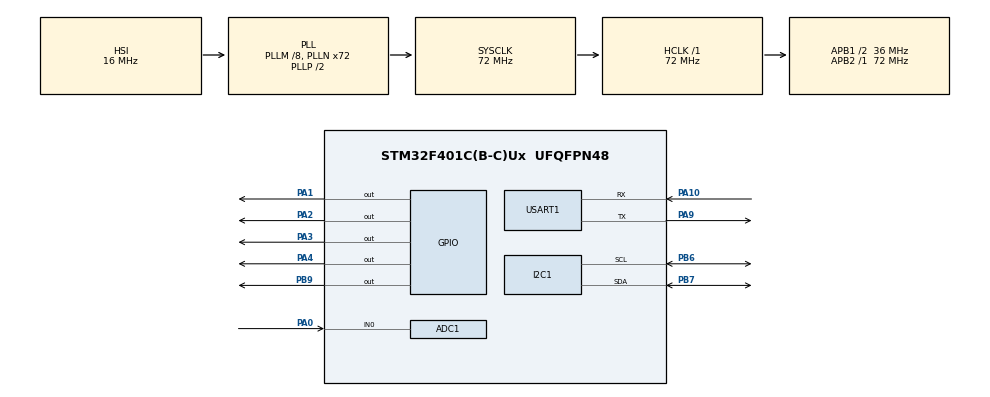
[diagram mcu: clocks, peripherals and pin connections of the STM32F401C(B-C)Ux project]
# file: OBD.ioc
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ADC1.Channel-0\#ChannelRegularConversion=ADC_CHANNEL_0
ADC1.ClockPrescaler=ADC_CLOCK_SYNC_PCLK_DIV6
ADC1.ContinuousConvMode=ENABLE
ADC1.NbrOfConversionFlag=1
ADC1.Rank-0\#ChannelRegularConversion=1
ADC1.SamplingTime-0\#ChannelRegularConversion=ADC_SAMPLETIME_3CYCLES
ADC1.master=1
Mcu.Family=STM32F4
Mcu.Name=STM32F401C(B-C)Ux
Mcu.Package=UFQFPN48
NVIC.ADC_IRQn=true\:0\:0\:false\:false\:true\:true\:true\:true
NVIC.PriorityGroup=NVIC_PRIORITYGROUP_4
NVIC.TIM2_IRQn=true\:0\:0\:false\:false\:true\:true\:true\:true
PA0-WKUP.Signal=ADCx_IN0
PA1.GPIO_PuPd=GPIO_NOPULL
PA1.Signal=GPIO_Output
PA10.Mode=Asynchronous
PA10.Signal=USART1_RX
PA2.GPIO_PuPd=GPIO_NOPULL
PA2.Signal=GPIO_Output
PA3.GPIO_PuPd=GPIO_NOPULL
PA3.Signal=GPIO_Output
PA4.GPIO_PuPd=GPIO_NOPULL
PA4.Signal=GPIO_Output
PA9.Mode=Asynchronous
PA9.Signal=USART1_TX
PB6.Mode=I2C
PB6.Signal=I2C1_SCL
PB7.Mode=I2C
PB7.Signal=I2C1_SDA
PB9.Signal=GPIO_Output
ProjectManager.HeapSize=0x200
ProjectManager.StackSize=0x400
ProjectManager.TargetToolchain=STM32CubeIDE
RCC.48MHZClocksFreq_Value=36000000
RCC.AHBFreq_Value=72000000
RCC.APB1CLKDivider=RCC_HCLK_DIV2
RCC.APB1Freq_Value=36000000
RCC.APB1TimFreq_Value=72000000
RCC.APB2Freq_Value=72000000
RCC.APB2TimFreq_Value=72000000
RCC.CortexFreq_Value=72000000
RCC.HCLKFreq_Value=72000000
RCC.HSE_VALUE=25000000
RCC.HSI_VALUE=16000000
RCC.LSE_VALUE=32768
RCC.PLLM=8
RCC.PLLN=72
RCC.SYSCLKFreq_VALUE=72000000
RCC.SYSCLKSource=RCC_SYSCLKSOURCE_PLLCLK
RCC.VCOOutputFreq_Value=144000000
SH.ADCx_IN0.0=ADC1_IN0,IN0
TIM1.Prescaler=72-1
TIM2.Period=10000000
TIM2.Prescaler=72-1
USART1.VirtualMode=VM_ASYNC
VP_TIM1_VS_ClockSourceINT.Mode=Internal
VP_TIM2_VS_ClockSourceINT.Mode=Internal
board=custom

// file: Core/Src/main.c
/* USER CODE BEGIN Header */
/**
 ******************************************************************************
 * @file           : main.c
 * @brief          : Main program body
 ******************************************************************************
 * @attention
 *
 * Copyright (c) 2023 STMicroelectronics.
 * All rights reserved.
 *
 * This software is licensed under terms that can be found in the LICENSE file
 * in the root directory of this software component.
 * If no LICENSE file comes with this software, it is provided AS-IS.
 *
 ******************************************************************************
 */
/* USER CODE END Header */
#include "main.h"

/* USER CODE BEGIN Includes */
#include "EEPROM.h"
/* USER CODE END Includes */

/* USER CODE BEGIN PD */

//Fuel level part
#define FUEL_SENSOR_PIN				GPIO_PIN_0
#define FUEL_SENSOR_PORT			GPIOA

#define FUEL_LED0_PIN				GPIO_PIN_1
#define FUEL_LED0_PORT				GPIOA

#define FUEL_LED1_PIN				GPIO_PIN_2
#define FUEL_LED1_PORT				GPIOA

#define FUEL_LED2_PIN				GPIO_PIN_3
#define FUEL_LED2_PORT				GPIOA

#define FUEL_LED3_PIN				GPIO_PIN_4
#define FUEL_LED3_PORT				GPIOA

#define FUEL_MAX_DIGITA_VALUE		2000
#define FUEL_MINIMUM_DIGITA_VALUE	180

//timer and i2c part
#define PAGE_NUM_TIM_LOC        1
#define PAGE_NUM_FLAG_LOC       2

#define OFFSET_NUM_TIM          1
#define OFFSET_NUM_FLAG         3

#define TIM_SIZE_DATA           4
#define FLAG_SIZE_DATA          1

#define FIRST_TIME             0xFF

// temprature part

#define DHT11_PORT GPIOB
#define DHT11_PIN GPIO_PIN_9

/* USER CODE END PD */

ADC_HandleTypeDef hadc1;

I2C_HandleTypeDef hi2c1;

TIM_HandleTypeDef htim1;
TIM_HandleTypeDef htim2;

UART_HandleTypeDef huart1;

/* USER CODE BEGIN PV */
uint32_t adcValue ;

//timer and i2c part
uint32_t g_timeElapsedSec = 0;
uint8_t g_flag ;
uint8_t Done = 0x2;

// temprature part
uint8_t tx_buffer[2];
uint8_t RHI, RHD, TCI, TCD, SUM;
uint32_t pMillis, cMillis;
float tCelsius = 0;
float tFahrenheit = 0;
float RH = 0;
uint8_t TFI = 0;
uint8_t TFD = 0;
char strCopy[15];

/* USER CODE END PV */

void SystemClock_Config(void);
static void MX_GPIO_Init(void);
static void MX_ADC1_Init(void);
static void MX_I2C1_Init(void);
static void MX_TIM2_Init(void);
static void MX_TIM1_Init(void);
static void MX_USART1_UART_Init(void);
/* USER CODE BEGIN PFP */

uint32_t convertDigitalToLevel(uint32_t digitalValue);
void mapDigitalvalueToLeds(uint32_t digitalValue);

//timer and i2c part
void EEPROM_voidGetStoredTime(void);
uint32_t GetElapsedTime(void);

// temprature part
void microDelay (uint16_t delay);
uint8_t DHT11_Start (void);
uint8_t DHT11_Read (void);
void DHT11_TempRead(void);
/* USER CODE END PFP */

int main(void)
{

  /* MCU Configuration--------------------------------------------------------*/

  /* Reset of all peripherals, Initializes the Flash interface and the Systick. */
  HAL_Init();

  /* Configure the system clock */
  SystemClock_Config();

  /* Initialize all configured peripherals */
  MX_GPIO_Init();
  MX_ADC1_Init();
  MX_I2C1_Init();
  MX_TIM2_Init();
  MX_TIM1_Init();
  MX_USART1_UART_Init();
  /* USER CODE BEGIN 2 */

	//timer and i2c part
	HAL_I2C_Init(&hi2c1);
	EEPROM_voidGetStoredTime();
	HAL_TIM_Base_Start_IT(&htim2);
	HAL_TIM_Base_Start(&htim1);
  /* USER CODE END 2 */

  /* Infinite loop */
	while (1)
	{

    /* USER CODE BEGIN 3 */
		HAL_ADC_Start(&hadc1);
		HAL_ADC_PollForConversion(&hadc1, 100);
		adcValue = HAL_ADC_GetValue(&hadc1);
		HAL_ADC_Stop(&hadc1);
		mapDigitalvalueToLeds(adcValue);

		DHT11_TempRead();

		HAL_Delay(1000);

	}
  /* USER CODE END 3 */
}

void SystemClock_Config(void)
{
  RCC_OscInitTypeDef RCC_OscInitStruct = {0};
  RCC_ClkInitTypeDef RCC_ClkInitStruct = {0};

  /** Configure the main internal regulator output voltage
  */
  __HAL_RCC_PWR_CLK_ENABLE();
  __HAL_PWR_VOLTAGESCALING_CONFIG(PWR_REGULATOR_VOLTAGE_SCALE2);

  /** Initializes the RCC Oscillators according to the specified parameters
  * in the RCC_OscInitTypeDef structure.
  */
  RCC_OscInitStruct.OscillatorType = RCC_OSCILLATORTYPE_HSI;
  RCC_OscInitStruct.HSIState = RCC_HSI_ON;
  RCC_OscInitStruct.HSICalibrationValue = RCC_HSICALIBRATION_DEFAULT;
  RCC_OscInitStruct.PLL.PLLState = RCC_PLL_ON;
  RCC_OscInitStruct.PLL.PLLSource = RCC_PLLSOURCE_HSI;
  RCC_OscInitStruct.PLL.PLLM = 8;
  RCC_OscInitStruct.PLL.PLLN = 72;
  RCC_OscInitStruct.PLL.PLLP = RCC_PLLP_DIV2;
  RCC_OscInitStruct.PLL.PLLQ = 4;
  if (HAL_RCC_OscConfig(&RCC_OscInitStruct) != HAL_OK)
  {
    Error_Handler();
  }

  /** Initializes the CPU, AHB and APB buses clocks
  */
  RCC_ClkInitStruct.ClockType = RCC_CLOCKTYPE_HCLK|RCC_CLOCKTYPE_SYSCLK
                              |RCC_CLOCKTYPE_PCLK1|RCC_CLOCKTYPE_PCLK2;
  RCC_ClkInitStruct.SYSCLKSource = RCC_SYSCLKSOURCE_PLLCLK;
  RCC_ClkInitStruct.AHBCLKDivider = RCC_SYSCLK_DIV1;
  RCC_ClkInitStruct.APB1CLKDivider = RCC_HCLK_DIV2;
  RCC_ClkInitStruct.APB2CLKDivider = RCC_HCLK_DIV1;

  if (HAL_RCC_ClockConfig(&RCC_ClkInitStruct, FLASH_LATENCY_2) != HAL_OK)
  {
    Error_Handler();
  }
}

static void MX_ADC1_Init(void)
{

  ADC_ChannelConfTypeDef sConfig = {0};

  /** Configure the global features of the ADC (Clock, Resolution, Data Alignment and number of conversion)
  */
  hadc1.Instance = ADC1;
  hadc1.Init.ClockPrescaler = ADC_CLOCK_SYNC_PCLK_DIV6;
  hadc1.Init.Resolution = ADC_RESOLUTION_12B;
  hadc1.Init.ScanConvMode = DISABLE;
  hadc1.Init.ContinuousConvMode = ENABLE;
  hadc1.Init.DiscontinuousConvMode = DISABLE;
  hadc1.Init.ExternalTrigConvEdge = ADC_EXTERNALTRIGCONVEDGE_NONE;
  hadc1.Init.ExternalTrigConv = ADC_SOFTWARE_START;
  hadc1.Init.DataAlign = ADC_DATAALIGN_RIGHT;
  hadc1.Init.NbrOfConversion = 1;
  hadc1.Init.DMAContinuousRequests = DISABLE;
  hadc1.Init.EOCSelection = ADC_EOC_SINGLE_CONV;
  if (HAL_ADC_Init(&hadc1) != HAL_OK)
  {
    Error_Handler();
  }

  /** Configure for the selected ADC regular channel its corresponding rank in the sequencer and its sample time.
  */
  sConfig.Channel = ADC_CHANNEL_0;
  sConfig.Rank = 1;
  sConfig.SamplingTime = ADC_SAMPLETIME_3CYCLES;
  if (HAL_ADC_ConfigChannel(&hadc1, &sConfig) != HAL_OK)
  {
    Error_Handler();
  }

}

static void MX_I2C1_Init(void)
{

  hi2c1.Instance = I2C1;
  hi2c1.Init.ClockSpeed = 100000;
  hi2c1.Init.DutyCycle = I2C_DUTYCYCLE_2;
  hi2c1.Init.OwnAddress1 = 0;
  hi2c1.Init.AddressingMode = I2C_ADDRESSINGMODE_7BIT;
  hi2c1.Init.DualAddressMode = I2C_DUALADDRESS_DISABLE;
  hi2c1.Init.OwnAddress2 = 0;
  hi2c1.Init.GeneralCallMode = I2C_GENERALCALL_DISABLE;
  hi2c1.Init.NoStretchMode = I2C_NOSTRETCH_DISABLE;
  if (HAL_I2C_Init(&hi2c1) != HAL_OK)
  {
    Error_Handler();
  }

}

static void MX_TIM1_Init(void)
{

  TIM_ClockConfigTypeDef sClockSourceConfig = {0};
  TIM_MasterConfigTypeDef sMasterConfig = {0};

  htim1.Instance = TIM1;
  htim1.Init.Prescaler = 72-1;
  htim1.Init.CounterMode = TIM_COUNTERMODE_UP;
  htim1.Init.Period = 65535;
  htim1.Init.ClockDivision = TIM_CLOCKDIVISION_DIV1;
  htim1.Init.RepetitionCounter = 0;
  htim1.Init.AutoReloadPreload = TIM_AUTORELOAD_PRELOAD_DISABLE;
  if (HAL_TIM_Base_Init(&htim1) != HAL_OK)
  {
    Error_Handler();
  }
  sClockSourceConfig.ClockSource = TIM_CLOCKSOURCE_INTERNAL;
  if (HAL_TIM_ConfigClockSource(&htim1, &sClockSourceConfig) != HAL_OK)
  {
    Error_Handler();
  }
  sMasterConfig.MasterOutputTrigger = TIM_TRGO_RESET;
  sMasterConfig.MasterSlaveMode = TIM_MASTERSLAVEMODE_DISABLE;
  if (HAL_TIMEx_MasterConfigSynchronization(&htim1, &sMasterConfig) != HAL_OK)
  {
    Error_Handler();
  }

}

static void MX_TIM2_Init(void)
{

  TIM_ClockConfigTypeDef sClockSourceConfig = {0};
  TIM_MasterConfigTypeDef sMasterConfig = {0};

  htim2.Instance = TIM2;
  htim2.Init.Prescaler = 72-1;
  htim2.Init.CounterMode = TIM_COUNTERMODE_UP;
  htim2.Init.Period = 10000000;
  htim2.Init.ClockDivision = TIM_CLOCKDIVISION_DIV1;
  htim2.Init.AutoReloadPreload = TIM_AUTORELOAD_PRELOAD_DISABLE;
  if (HAL_TIM_Base_Init(&htim2) != HAL_OK)
  {
    Error_Handler();
  }
  sClockSourceConfig.ClockSource = TIM_CLOCKSOURCE_INTERNAL;
  if (HAL_TIM_ConfigClockSource(&htim2, &sClockSourceConfig) != HAL_OK)
  {
    Error_Handler();
  }
  sMasterConfig.MasterOutputTrigger = TIM_TRGO_RESET;
  sMasterConfig.MasterSlaveMode = TIM_MASTERSLAVEMODE_DISABLE;
  if (HAL_TIMEx_MasterConfigSynchronization(&htim2, &sMasterConfig) != HAL_OK)
  {
    Error_Handler();
  }

}

static void MX_USART1_UART_Init(void)
{

  huart1.Instance = USART1;
  huart1.Init.BaudRate = 115200;
  huart1.Init.WordLength = UART_WORDLENGTH_8B;
  huart1.Init.StopBits = UART_STOPBITS_1;
  huart1.Init.Parity = UART_PARITY_NONE;
  huart1.Init.Mode = UART_MODE_TX_RX;
  huart1.Init.HwFlowCtl = UART_HWCONTROL_NONE;
  huart1.Init.OverSampling = UART_OVERSAMPLING_16;
  if (HAL_UART_Init(&huart1) != HAL_OK)
  {
    Error_Handler();
  }

}

static void MX_GPIO_Init(void)
{
  GPIO_InitTypeDef GPIO_InitStruct = {0};

  /* GPIO Ports Clock Enable */
  __HAL_RCC_GPIOA_CLK_ENABLE();
  __HAL_RCC_GPIOB_CLK_ENABLE();

  /*Configure GPIO pin Output Level */
  HAL_GPIO_WritePin(GPIOA, GPIO_PIN_1|GPIO_PIN_2|GPIO_PIN_3|GPIO_PIN_4, GPIO_PIN_RESET);

  /*Configure GPIO pin Output Level */
  HAL_GPIO_WritePin(GPIOB, GPIO_PIN_9, GPIO_PIN_RESET);

  /*Configure GPIO pins : PA1 PA2 PA3 PA4 */
  GPIO_InitStruct.Pin = GPIO_PIN_1|GPIO_PIN_2|GPIO_PIN_3|GPIO_PIN_4;
  GPIO_InitStruct.Mode = GPIO_MODE_OUTPUT_PP;
  GPIO_InitStruct.Pull = GPIO_NOPULL;
  GPIO_InitStruct.Speed = GPIO_SPEED_FREQ_LOW;
  HAL_GPIO_Init(GPIOA, &GPIO_InitStruct);

  /*Configure GPIO pin : PB9 */
  GPIO_InitStruct.Pin = GPIO_PIN_9;
  GPIO_InitStruct.Mode = GPIO_MODE_OUTPUT_PP;
  GPIO_InitStruct.Pull = GPIO_NOPULL;
  GPIO_InitStruct.Speed = GPIO_SPEED_FREQ_LOW;
  HAL_GPIO_Init(GPIOB, &GPIO_InitStruct);

}

/* USER CODE BEGIN 4 */

void mapDigitalvalueToLeds(uint32_t digitalValue){
	//empty tank
	if (digitalValue <= FUEL_MINIMUM_DIGITA_VALUE){
		HAL_GPIO_WritePin(FUEL_LED0_PORT, FUEL_LED0_PIN,GPIO_PIN_SET);
		HAL_GPIO_WritePin(FUEL_LED1_PORT, FUEL_LED1_PIN,GPIO_PIN_SET);
		HAL_GPIO_WritePin(FUEL_LED2_PORT, FUEL_LED2_PIN,GPIO_PIN_SET);
		HAL_GPIO_WritePin(FUEL_LED3_PORT, FUEL_LED3_PIN,GPIO_PIN_SET);
	}
	//quarter tank
	else if (digitalValue <= (FUEL_MAX_DIGITA_VALUE - FUEL_MINIMUM_DIGITA_VALUE)/4){
		HAL_GPIO_WritePin(FUEL_LED0_PORT, FUEL_LED0_PIN,GPIO_PIN_SET);
		HAL_GPIO_WritePin(FUEL_LED1_PORT, FUEL_LED1_PIN,GPIO_PIN_SET);
		HAL_GPIO_WritePin(FUEL_LED2_PORT, FUEL_LED2_PIN,GPIO_PIN_SET);
		HAL_GPIO_WritePin(FUEL_LED3_PORT, FUEL_LED3_PIN,GPIO_PIN_RESET);
	}
	//Half tank
	else if (digitalValue <= (FUEL_MAX_DIGITA_VALUE - FUEL_MINIMUM_DIGITA_VALUE)/2){
		HAL_GPIO_WritePin(FUEL_LED0_PORT, FUEL_LED0_PIN,GPIO_PIN_SET);
		HAL_GPIO_WritePin(FUEL_LED1_PORT, FUEL_LED1_PIN,GPIO_PIN_SET);
		HAL_GPIO_WritePin(FUEL_LED2_PORT, FUEL_LED2_PIN,GPIO_PIN_RESET);
		HAL_GPIO_WritePin(FUEL_LED3_PORT, FUEL_LED3_PIN,GPIO_PIN_RESET);
	}
	//3 quarters tank
	else if (digitalValue <= (FUEL_MAX_DIGITA_VALUE - FUEL_MINIMUM_DIGITA_VALUE)/4*3){

		HAL_GPIO_WritePin(FUEL_LED0_PORT, FUEL_LED0_PIN,GPIO_PIN_SET);
		HAL_GPIO_WritePin(FUEL_LED1_PORT, FUEL_LED1_PIN,GPIO_PIN_RESET);
		HAL_GPIO_WritePin(FUEL_LED2_PORT, FUEL_LED2_PIN,GPIO_PIN_RESET);
		HAL_GPIO_WritePin(FUEL_LED3_PORT, FUEL_LED3_PIN,GPIO_PIN_RESET);
	}
	//Full tank
	else if (digitalValue <= (FUEL_MAX_DIGITA_VALUE - FUEL_MINIMUM_DIGITA_VALUE)){

		HAL_GPIO_WritePin(FUEL_LED0_PORT, FUEL_LED0_PIN,GPIO_PIN_RESET);
		HAL_GPIO_WritePin(FUEL_LED1_PORT, FUEL_LED1_PIN,GPIO_PIN_RESET);
		HAL_GPIO_WritePin(FUEL_LED2_PORT, FUEL_LED2_PIN,GPIO_PIN_RESET);
		HAL_GPIO_WritePin(FUEL_LED3_PORT, FUEL_LED3_PIN,GPIO_PIN_RESET);
	}
}

//timer and i2c part
uint32_t GetElapsedTime(void){
	uint32_t ElapsedTime = 0 ;
	EEPROM_Read(PAGE_NUM_TIM_LOC, OFFSET_NUM_TIM, (uint8_t *)&ElapsedTime, TIM_SIZE_DATA);
	return ElapsedTime;
}

void EEPROM_voidGetStoredTime(void){

	//	for(uint8_t i = 0 ; i < 128 ; i++){
	//				EEPROM_PageErase(i);
	//			}
	//#ifdef	a

	EEPROM_Read(PAGE_NUM_FLAG_LOC, OFFSET_NUM_FLAG, &g_flag, FLAG_SIZE_DATA);
	//HAL_Delay(15);
	if(g_flag != FIRST_TIME){

		EEPROM_Read(PAGE_NUM_TIM_LOC, OFFSET_NUM_TIM, (uint8_t *)&g_timeElapsedSec, TIM_SIZE_DATA);
	}
	else{
		/* It's First time */
		/* Erase our used loc in EEPROM to make sure that is clear */
		for(uint8_t i = 0 ; i < 128 ; i++){
			EEPROM_PageErase(i);
		}
		EEPROM_Write(PAGE_NUM_FLAG_LOC, OFFSET_NUM_FLAG,&Done, FLAG_SIZE_DATA);
	}
	//#endif
}

void HAL_TIM_PeriodElapsedCallback(TIM_HandleTypeDef *htim){
	if(htim == &htim2){
		//Write Code here
		g_timeElapsedSec += 10;
		EEPROM_Write(PAGE_NUM_TIM_LOC, OFFSET_NUM_TIM,(uint8_t *)&g_timeElapsedSec,TIM_SIZE_DATA);
	}

}

// temprature part
void microDelay (uint16_t delay)
{

	__HAL_TIM_SET_COUNTER(&htim1, 0);
	while (__HAL_TIM_GET_COUNTER(&htim1) < delay);
}

uint8_t DHT11_Start (void)
{
	uint8_t Response = 0;
	GPIO_InitTypeDef GPIO_InitStructPrivate = {0};
	GPIO_InitStructPrivate.Pin = DHT11_PIN;
	GPIO_InitStructPrivate.Mode = GPIO_MODE_OUTPUT_PP;
	GPIO_InitStructPrivate.Speed = GPIO_SPEED_FREQ_LOW;
	GPIO_InitStructPrivate.Pull = GPIO_NOPULL;
	HAL_GPIO_Init(DHT11_PORT, &GPIO_InitStructPrivate); // set the pin as output

	HAL_GPIO_WritePin (DHT11_PORT, DHT11_PIN, 0);   // pull the pin low
	HAL_Delay(20);   // wait for 20ms  ,To initiate communication, the microcontroller sends a start signal to the DHT11 sensor. This start signal consists of a LOW signal on the data pin for at least 18 milliseconds. This LOW signal informs the sensor that it should prepare to transmit data.
	HAL_GPIO_WritePin (DHT11_PORT, DHT11_PIN, 1);   // pull the pin high
	microDelay (30);   // wait for 30us , After receiving the start signal, the DHT11 sensor responds by pulling the data line LOW for about 20-40 microseconds to acknowledge the start signal.
	GPIO_InitStructPrivate.Mode = GPIO_MODE_INPUT;
	GPIO_InitStructPrivate.Pull = GPIO_PULLUP;
	HAL_GPIO_Init(DHT11_PORT, &GPIO_InitStructPrivate); // set the pin as input
	microDelay (40);
	if (!(HAL_GPIO_ReadPin (DHT11_PORT, DHT11_PIN)))
	{
		microDelay (80);
		if ((HAL_GPIO_ReadPin (DHT11_PORT, DHT11_PIN))) {

			Response = 1;
		}
	}
	pMillis = HAL_GetTick();
	cMillis = HAL_GetTick();
	while ((HAL_GPIO_ReadPin (DHT11_PORT, DHT11_PIN)) && pMillis + 2 > cMillis)
	{
		cMillis = HAL_GetTick();
	}
	return Response;
}

uint8_t DHT11_Read (void)
{
	uint8_t a,b;
	for (a=0;a<8;a++)
	{
		pMillis = HAL_GetTick();
		cMillis = HAL_GetTick();
		while (!(HAL_GPIO_ReadPin (DHT11_PORT, DHT11_PIN)) && pMillis + 2 > cMillis)
		{  // wait for the pin to go high
			cMillis = HAL_GetTick();
		}
		microDelay (40);   // wait for 40 us
		if (!(HAL_GPIO_ReadPin (DHT11_PORT, DHT11_PIN)))   // if the pin is low
			b&= ~(1<<(7-a));
		else
			b|= (1<<(7-a));
		pMillis = HAL_GetTick();
		cMillis = HAL_GetTick();
		while ((HAL_GPIO_ReadPin (DHT11_PORT, DHT11_PIN)) && pMillis + 2 > cMillis)
		{  // wait for the pin to go low
			cMillis = HAL_GetTick();
		}
	}

	return b;
}

void DHT11_TempRead(void)
{
	if(DHT11_Start())
	{
		RHI = DHT11_Read(); // Relative humidity integral
		RHD = DHT11_Read(); // Relative humidity decimal
		TCI = DHT11_Read(); // Celsius integral
		TCD = DHT11_Read(); // Celsius decimal
		SUM = DHT11_Read(); // Check sum
		if (RHI + RHD + TCI + TCD == SUM)
		{
			// Can use RHI and TCI for any purposes if whole number only needed
			tCelsius = (float)TCI + (float)(TCD/10.0);
			//tFahrenheit = tCelsius * 9/5 + 32;
			//RH = (float)RHI + (float)(RHD/10.0);
			// Can use tCelsius, tFahrenheit and RH for any purposes
			//TFI = tFahrenheit;  // Fahrenheit integral
			//TFD = tFahrenheit*10-TFI*10; // Fahrenheit decimal

			tx_buffer[0]=TCI/10+48;
			tx_buffer[1]=TCI%10+48;

			HAL_UART_Transmit(&huart1,& tx_buffer[0], 1, 10);
			HAL_UART_Transmit(&huart1,& tx_buffer[1], 1, 10);

		}
	}
}

/* USER CODE END 4 */

void Error_Handler(void)
{
	__disable_irq();
	while (1)
	{
	}
}
